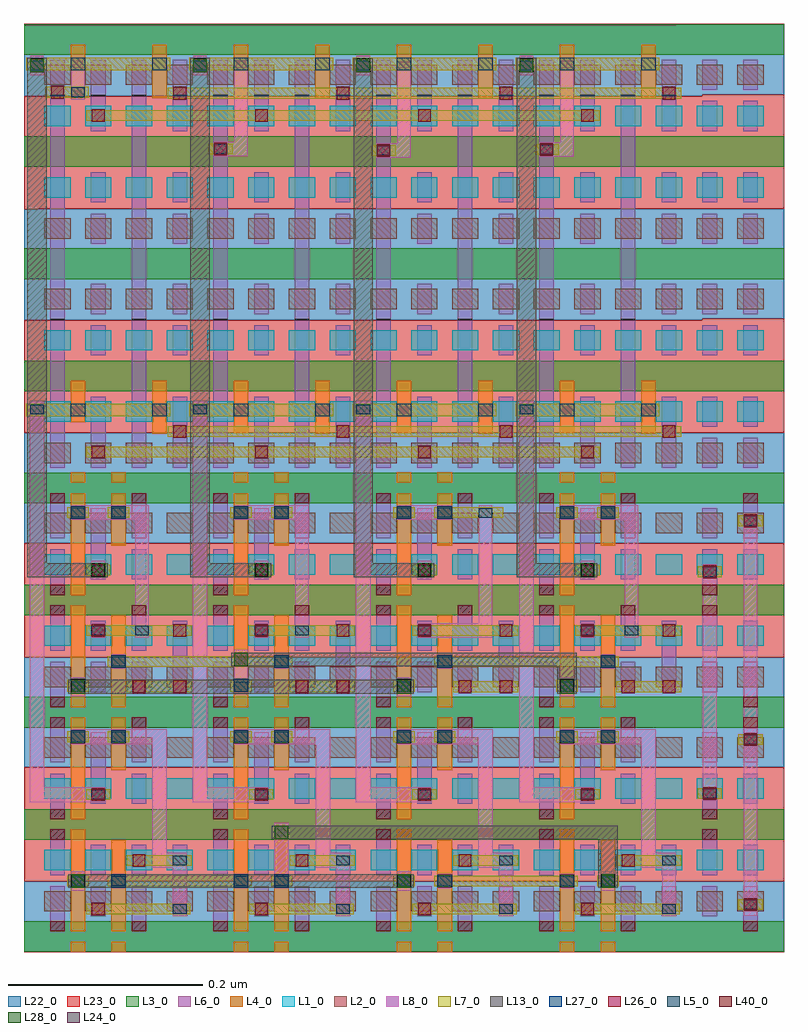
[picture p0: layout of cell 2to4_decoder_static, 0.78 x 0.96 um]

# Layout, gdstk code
from math import pi, radians
import gdstk
lib = gdstk.Library(unit=1e-6, precision=2.5e-10)
def R(c, l, rs):  # rectangles x0, y0, x1, y1
    for r in rs: c.add(gdstk.rectangle(r[:2], r[2:], *l))
def A(c, l, x, y, w, h, nx, ny, dx, dy):  # array of equal rectangles
    R(c, l, [(x+i*dx, y+j*dy, x+i*dx+w, y+j*dy+h) for i in range(nx) for j in range(ny)])
def P(c, l, *ps):  # polygons
    for p in ps: c.add(gdstk.Polygon(p, *l))
L1_0 = (1, 0)
L2_0 = (2, 0)
L3_0 = (3, 0)
L4_0 = (4, 0)
L5_0 = (5, 0)
L6_0 = (6, 0)
L7_0 = (7, 0)
L8_0 = (8, 0)
L13_0 = (13, 0)
L22_0 = (22, 0)
L23_0 = (23, 0)
L24_0 = (24, 0)
L26_0 = (26, 0)
L27_0 = (27, 0)
L28_0 = (28, 0)
L40_0 = (40, 0)

nand = lib.new_cell('nand')
A(nand, L1_0, 0.1255, 0.099, 0.027, 0.021, 4, 1, 0.042, 0)
A(nand, L2_0, 0.1255, 0.1415, 0.027, 0.021, 4, 1, 0.042, 0)
R(nand, L3_0, [(0.1045,0.057,0.2995,0.0885), (0.1045,0.1725,0.2995,0.204)])
R(nand, L4_0, [(0.1525,0.057,0.1675,0.0675), (0.1525,0.078,0.1675,0.183), (0.1945,0.0885,0.2095,0.183), (0.1525,0.1935,0.1675,0.204), (0.1945,0.1935,0.2095,0.204)])
R(nand, L5_0, [(0.1525,0.1245,0.1675,0.1375), (0.1945,0.1245,0.2095,0.1375)])
A(nand, L6_0, 0.1735, 0.094, 0.015, 0.031, 3, 1, 0.042, 0)
R(nand, L6_0, [(0.1315,0.078,0.1465,0.125), (0.1315,0.1365,0.1465,0.183), (0.1735,0.1365,0.1885,0.1675), (0.2155,0.1365,0.2305,0.183), (0.2575,0.1365,0.2725,0.1675)])
R(nand, L7_0, [(0.2105,0.1045,0.2775,0.1155), (0.149,0.1255,0.171,0.1365), (0.191,0.1255,0.213,0.1365), (0.1685,0.1545,0.276,0.1655)])
R(nand, L8_0, [(0.258,0.1025,0.272,0.1675), (0.153,0.1235,0.167,0.1385), (0.195,0.1235,0.209,0.1385)])
R(nand, L22_0, [(0.1045,0.1315,0.2995,0.204)])
R(nand, L23_0, [(0.1045,0.057,0.2995,0.1315), (0.1045,0.204,0.2995,0.2045)])
R(nand, L26_0, [(0.2165,0.1035,0.2295,0.1165), (0.1745,0.1535,0.1875,0.1665)])
R(nand, L27_0, [(0.258,0.105,0.272,0.115), (0.153,0.126,0.167,0.136), (0.195,0.126,0.209,0.136), (0.258,0.155,0.272,0.165)])
R(nand, L40_0, [(0.1315,0.078,0.1465,0.0885), (0.1315,0.1725,0.1465,0.183), (0.2155,0.1725,0.2305,0.183)])

nor = lib.new_cell('nor')
A(nor, L1_0, 0.178, 0.0425, 0.027, 0.021, 4, 1, 0.042, 0)
A(nor, L2_0, 0.178, 0.085, 0.027, 0.021, 4, 1, 0.042, 0)
R(nor, L3_0, [(0.157,0.0005,0.352,0.032), (0.157,0.116,0.352,0.1475)])
R(nor, L4_0, [(0.205,0.0005,0.22,0.011), (0.205,0.0215,0.22,0.1265), (0.247,0.032,0.262,0.1265), (0.205,0.137,0.22,0.1475), (0.247,0.137,0.262,0.1475)])
R(nor, L5_0, [(0.247,0.073,0.262,0.086), (0.205,0.0975,0.22,0.1105)])
R(nor, L6_0, [(0.184,0.0215,0.199,0.0685), (0.268,0.0215,0.283,0.0685), (0.226,0.0375,0.241,0.0685), (0.31,0.0375,0.325,0.111), (0.184,0.08,0.199,0.1265), (0.226,0.08,0.241,0.111), (0.268,0.08,0.283,0.111)])
R(nor, L7_0, [(0.221,0.042,0.33,0.053), (0.2435,0.074,0.2655,0.085), (0.2015,0.0985,0.2235,0.1105), (0.263,0.1,0.33,0.111)])
R(nor, L8_0, [(0.2265,0.04,0.2405,0.055), (0.2475,0.072,0.2615,0.087), (0.2055,0.098,0.2195,0.113)])
R(nor, L22_0, [(0.157,0.075,0.352,0.148)])
R(nor, L23_0, [(0.157,0.0005,0.352,0.075)])
R(nor, L26_0, [(0.227,0.041,0.24,0.054), (0.311,0.041,0.324,0.054), (0.269,0.099,0.282,0.112), (0.311,0.099,0.324,0.112)])
R(nor, L27_0, [(0.2265,0.0425,0.2405,0.0525), (0.2475,0.0745,0.2615,0.0845), (0.2055,0.1005,0.2195,0.1105)])
R(nor, L40_0, [(0.184,0.0215,0.199,0.032), (0.268,0.0215,0.283,0.032), (0.184,0.116,0.199,0.1265)])

c_2to4_decoder_static_fill = lib.new_cell('2to4_decoder_static_filler_17')
R(c_2to4_decoder_static_fill, L1_0, [(0.021,0.042,0.048,0.063), (0.063,0.042,0.09,0.063)])
R(c_2to4_decoder_static_fill, L2_0, [(0.021,0.0845,0.048,0.1055), (0.063,0.0845,0.09,0.1055)])
R(c_2to4_decoder_static_fill, L3_0, [(0,0,0.111,0.0315), (0,0.1155,0.111,0.147)])
R(c_2to4_decoder_static_fill, L6_0, [(0.027,0.037,0.042,0.068), (0.069,0.037,0.084,0.068), (0.027,0.0795,0.042,0.1105), (0.069,0.0795,0.084,0.1105)])
R(c_2to4_decoder_static_fill, L22_0, [(0,0.0745,0.111,0.147)])
P(c_2to4_decoder_static_fill, L23_0, [(0.111,0.0745),(0.111,0),(0,0),(0,0.073),(0.027,0.073),(0.027,0.0745)])

inv = lib.new_cell('inv')
A(inv, L1_0, 0.021, 0.042, 0.027, 0.021, 3, 1, 0.042, 0)
R(inv, L1_0, [(0.147,0.042,0.153,0.063)])
A(inv, L2_0, 0.021, 0.0845, 0.027, 0.021, 3, 1, 0.042, 0)
R(inv, L2_0, [(0.147,0.0845,0.153,0.1055)])
R(inv, L3_0, [(0,0,0.153,0.0315), (0,0.1155,0.153,0.147)])
R(inv, L4_0, [(0.048,0,0.063,0.0105), (0.048,0.021,0.063,0.126), (0.09,0.0715,0.105,0.126), (0.048,0.1365,0.063,0.147), (0.09,0.1365,0.105,0.147)])
R(inv, L5_0, [(0.048,0.0995,0.063,0.1125), (0.09,0.0995,0.105,0.1125)])
R(inv, L6_0, [(0.027,0.021,0.042,0.068), (0.069,0.037,0.084,0.1105), (0.111,0.037,0.126,0.068), (0.027,0.0795,0.042,0.126), (0.111,0.0795,0.126,0.126)])
R(inv, L7_0, [(0.064,0.041,0.089,0.052), (0.0445,0.1005,0.0665,0.1115), (0.0865,0.1005,0.1085,0.1115)])
R(inv, L8_0, [(0.0695,0.039,0.0835,0.054), (0.0485,0.0985,0.1045,0.1135)])
R(inv, L22_0, [(0,0.0745,0.153,0.1475)])
R(inv, L23_0, [(0,0,0.153,0.0745)])
R(inv, L26_0, [(0.07,0.04,0.083,0.053)])
R(inv, L27_0, [(0.0695,0.0415,0.0835,0.0515), (0.0485,0.101,0.0625,0.111), (0.0905,0.101,0.1045,0.111)])
R(inv, L40_0, [(0.027,0.021,0.042,0.0315), (0.027,0.1155,0.042,0.126), (0.111,0.1155,0.126,0.126)])

c_2to4_decoder_static = lib.new_cell('2to4_decoder_static')
A(c_2to4_decoder_static, L1_0, 0.021, 0.084, 0.027, 0.021, 3, 2, 0.042, 0.231)
A(c_2to4_decoder_static, L1_0, 0.189, 0.084, 0.027, 0.021, 3, 2, 0.042, 0.231)
A(c_2to4_decoder_static, L1_0, 0.357, 0.084, 0.027, 0.021, 3, 2, 0.042, 0.231)
A(c_2to4_decoder_static, L1_0, 0.525, 0.084, 0.027, 0.021, 3, 2, 0.042, 0.231)
A(c_2to4_decoder_static, L1_0, 0.153, 0.1575, 0.021, 0.021, 4, 2, 0.168, 0.231)
A(c_2to4_decoder_static, L1_0, 0.021, 0.546, 0.027, 0.021, 16, 2, 0.042, 0.0735)
A(c_2to4_decoder_static, L1_0, 0.021, 0.777, 0.027, 0.021, 16, 2, 0.042, 0.0735)
R(c_2to4_decoder_static, L1_0, [(0.021,0.1575,0.048,0.1785), (0.063,0.1575,0.09,0.1785), (0.189,0.1575,0.216,0.1785), (0.231,0.1575,0.258,0.1785), (0.357,0.1575,0.384,0.1785), (0.399,0.1575,0.426,0.1785), (0.525,0.1575,0.552,0.1785), (0.567,0.1575,0.594,0.1785), (0.021,0.3885,0.048,0.4095), (0.063,0.3885,0.09,0.4095), (0.189,0.3885,0.216,0.4095), (0.231,0.3885,0.258,0.4095), (0.357,0.3885,0.384,0.4095), (0.399,0.3885,0.426,0.4095), (0.525,0.3885,0.552,0.4095), (0.567,0.3885,0.594,0.4095)])
A(c_2to4_decoder_static, L2_0, 0.021, 0.2, 0.027, 0.021, 3, 2, 0.042, 0.0725)
A(c_2to4_decoder_static, L2_0, 0.153, 0.2, 0.021, 0.021, 4, 2, 0.168, 0.231)
A(c_2to4_decoder_static, L2_0, 0.189, 0.2, 0.027, 0.021, 3, 2, 0.042, 0.0725)
A(c_2to4_decoder_static, L2_0, 0.357, 0.2, 0.027, 0.021, 3, 2, 0.042, 0.0725)
A(c_2to4_decoder_static, L2_0, 0.525, 0.2, 0.027, 0.021, 3, 2, 0.042, 0.0725)
A(c_2to4_decoder_static, L2_0, 0.021, 0.431, 0.027, 0.021, 3, 1, 0.042, 0)
A(c_2to4_decoder_static, L2_0, 0.189, 0.431, 0.027, 0.021, 3, 1, 0.042, 0)
A(c_2to4_decoder_static, L2_0, 0.357, 0.431, 0.027, 0.021, 3, 1, 0.042, 0)
A(c_2to4_decoder_static, L2_0, 0.525, 0.431, 0.027, 0.021, 3, 1, 0.042, 0)
A(c_2to4_decoder_static, L2_0, 0.021, 0.5035, 0.027, 0.021, 16, 2, 0.042, 0.1585)
A(c_2to4_decoder_static, L2_0, 0.021, 0.7345, 0.027, 0.021, 16, 2, 0.042, 0.1585)
A(c_2to4_decoder_static, L3_0, 0, 0, 0.783, 0.0315, 1, 6, 0, 0.1155)
A(c_2to4_decoder_static, L3_0, 0, 0.693, 0.699, 0.0315, 1, 3, 0, 0.1155)
A(c_2to4_decoder_static, L4_0, 0.048, 0.021, 0.015, 0.105, 4, 4, 0.168, 0.1155)
A(c_2to4_decoder_static, L4_0, 0.09, 0.021, 0.015, 0.0945, 4, 2, 0.168, 0.231)
A(c_2to4_decoder_static, L4_0, 0.09, 0.187, 0.015, 0.0545, 4, 2, 0.168, 0.231)
A(c_2to4_decoder_static, L4_0, 0.132, 0.5335, 0.015, 0.0545, 4, 1, 0.168, 0)
A(c_2to4_decoder_static, L4_0, 0.216, 0.534, 0.015, 0.054, 3, 1, 0.168, 0)
A(c_2to4_decoder_static, L4_0, 0.048, 0.8795, 0.015, 0.055, 8, 1, 0.084, 0)
R(c_2to4_decoder_static, L4_0, [(0.048,0.483,0.063,0.494), (0.09,0.483,0.105,0.494), (0.216,0.483,0.231,0.494), (0.258,0.483,0.273,0.494), (0.384,0.483,0.399,0.494), (0.426,0.483,0.441,0.494), (0.552,0.483,0.567,0.494), (0.594,0.483,0.609,0.494), (0.048,0.5455,0.063,0.588)])
A(c_2to4_decoder_static, L5_0, 0.048, 0.5515, 0.015, 0.013, 8, 2, 0.084, 0.3565)
A(c_2to4_decoder_static, L6_0, 0.027, 0.4985, 0.015, 0.4205, 8, 1, 0.084, 0)
A(c_2to4_decoder_static, L6_0, 0.069, 0.4985, 0.015, 0.0735, 8, 2, 0.084, 0.347)
A(c_2to4_decoder_static, L6_0, 0.069, 0.6145, 0.015, 0.031, 8, 2, 0.084, 0.0425)
A(c_2to4_decoder_static, L6_0, 0.069, 0.7295, 0.015, 0.031, 8, 2, 0.084, 0.0425)
R(c_2to4_decoder_static, L6_0, [(0.741,0.021,0.756,0.0425), (0.741,0.043,0.756,0.054), (0.699,0.1045,0.714,0.126), (0.699,0.1365,0.714,0.1685), (0.741,0.213,0.756,0.2415), (0.741,0.252,0.756,0.2735), (0.699,0.3355,0.714,0.357), (0.699,0.3675,0.714,0.397), (0.741,0.4385,0.756,0.4495), (0.741,0.451,0.756,0.4725)])
A(c_2to4_decoder_static, L7_0, 0.0025, 0.5515, 0.148, 0.013, 4, 2, 0.168, 0.3565)
R(c_2to4_decoder_static, L7_0, [(0.736,0.043,0.761,0.054), (0.0865,0.0675,0.2345,0.0785), (0.4225,0.0675,0.5705,0.0785), (0.694,0.1575,0.719,0.1685), (0.736,0.213,0.761,0.224), (0.0865,0.2935,0.2765,0.3045), (0.4225,0.2935,0.6125,0.3045), (0.1105,0.326,0.1325,0.336), (0.2755,0.326,0.2975,0.336), (0.615,0.326,0.637,0.336), (0.694,0.386,0.719,0.397), (0.736,0.4385,0.761,0.4495), (0.4225,0.447,0.494,0.458), (0.064,0.5095,0.593,0.5205), (0.148,0.5305,0.677,0.5415), (0.358,0.82,0.383,0.831), (0.526,0.821,0.551,0.832), (0.19,0.8215,0.215,0.8325), (0.064,0.856,0.593,0.867), (0.148,0.879,0.677,0.89), (0.022,0.88,0.0665,0.891)])
A(c_2to4_decoder_static, L8_0, 0.0695, 0.383, 0.014, 0.02, 4, 1, 0.168, 0)
A(c_2to4_decoder_static, L8_0, 0.0065, 0.903, 0.014, 0.02, 4, 1, 0.168, 0)
R(c_2to4_decoder_static, L8_0, [(0.7415,0.037,0.7555,0.4515), (0.0485,0.063,0.0625,0.083), (0.3845,0.063,0.3985,0.083), (0.5945,0.063,0.6085,0.083), (0.258,0.0655,0.273,0.133), (0.6995,0.1555,0.7135,0.399), (0.0485,0.263,0.0625,0.283), (0.3845,0.263,0.3985,0.283), (0.5525,0.263,0.5665,0.283), (0.2165,0.2685,0.2305,0.311), (0.091,0.293,0.104,0.3055), (0.4285,0.295,0.439,0.3015), (0.0485,0.878,0.0625,0.921)])
P(c_2to4_decoder_static, L8_0, [(0.651,0.229),(0.651,0.102),(0.6715,0.102),(0.6715,0.0865),(0.636,0.0865),(0.636,0.214),(0.6015,0.214),(0.6015,0.229)],
  [(0.633,0.46),(0.633,0.3235),(0.619,0.3235),(0.619,0.445),(0.5885,0.445),(0.5885,0.46)],
  [(0.5665,0.918),(0.5665,0.819),(0.5315,0.819),(0.5315,0.834),(0.5525,0.834),(0.5525,0.918)],
  [(0.525,0.5675),(0.525,0.1695),(0.5875,0.1695),(0.5875,0.154),(0.51,0.154),(0.51,0.5675)],
  [(0.483,0.229),(0.483,0.102),(0.5035,0.102),(0.5035,0.0865),(0.468,0.0865),(0.468,0.214),(0.4335,0.214),(0.4335,0.229)],
  [(0.4825,0.46),(0.4825,0.3235),(0.4055,0.3235),(0.4055,0.3385),(0.4685,0.3385),(0.4685,0.46)],
  [(0.3985,0.917),(0.3985,0.818),(0.3635,0.818),(0.3635,0.833),(0.3845,0.833),(0.3845,0.917)],
  [(0.357,0.5675),(0.357,0.1695),(0.4195,0.1695),(0.4195,0.154),(0.342,0.154),(0.342,0.5675)],
  [(0.3155,0.229),(0.3155,0.102),(0.336,0.102),(0.336,0.0865),(0.3005,0.0865),(0.3005,0.214),(0.266,0.214),(0.266,0.229)],
  [(0.2935,0.46),(0.2935,0.3235),(0.2795,0.3235),(0.2795,0.445),(0.249,0.445),(0.249,0.46)],
  [(0.2305,0.9185),(0.2305,0.8195),(0.1955,0.8195),(0.1955,0.8345),(0.2165,0.8345),(0.2165,0.9185)],
  [(0.189,0.5675),(0.189,0.1695),(0.2515,0.1695),(0.2515,0.154),(0.174,0.154),(0.174,0.5675)],
  [(0.147,0.229),(0.147,0.102),(0.1675,0.102),(0.1675,0.0865),(0.132,0.0865),(0.132,0.214),(0.0975,0.214),(0.0975,0.229)],
  [(0.1285,0.46),(0.1285,0.3235),(0.1145,0.3235),(0.1145,0.445),(0.084,0.445),(0.084,0.46)],
  [(0.021,0.5675),(0.021,0.1695),(0.0835,0.1695),(0.0835,0.154),(0.006,0.154),(0.006,0.5675)])
R(c_2to4_decoder_static, L13_0, [(0.0455,0.066,0.4015,0.08), (0.0455,0.266,0.4015,0.28)])
P(c_2to4_decoder_static, L13_0, [(0.5275,0.921),(0.5275,0.4),(0.5905,0.4),(0.5905,0.386),(0.5075,0.386),(0.5075,0.921)],
  [(0.3595,0.9205),(0.3595,0.4),(0.4225,0.4),(0.4225,0.386),(0.3395,0.386),(0.3395,0.9205)],
  [(0.6115,0.13),(0.6115,0.066),(0.5915,0.066),(0.5915,0.116),(0.2555,0.116),(0.2555,0.13)],
  [(0.5695,0.308),(0.5695,0.266),(0.5495,0.266),(0.5495,0.294),(0.2135,0.294),(0.2135,0.308)],
  [(0.1915,0.921),(0.1915,0.4),(0.2545,0.4),(0.2545,0.386),(0.1715,0.386),(0.1715,0.921)],
  [(0.0235,0.921),(0.0235,0.4),(0.0865,0.4),(0.0865,0.386),(0.0035,0.386),(0.0035,0.921)])
R(c_2to4_decoder_static, L22_0, [(0,0.19,0.783,0.3035), (0,0.421,0.783,0.5345), (0,0.8815,0.699,0.9545)])
P(c_2to4_decoder_static, L22_0, [(0.6855,0.7655),(0.6855,0.765),(0.699,0.765),(0.699,0.6505),(0,0.6505),(0,0.765),(0.0135,0.765),(0.0135,0.7655)])
A(c_2to4_decoder_static, L23_0, 0.153, 0.147, 0.015, 0.043, 3, 2, 0.168, 0.231)
R(c_2to4_decoder_static, L23_0, [(0.699,-0.0005,0.783,0)])
P(c_2to4_decoder_static, L23_0, [(0.783,0.421),(0.783,0.3035),(0.699,0.3035),(0.699,0.378),(0.657,0.378),(0.657,0.421)],
  [(0.783,0.19),(0.783,0.0725),(0.699,0.0725),(0.699,0.147),(0.657,0.147),(0.657,0.19)],
  [(0.783,0.956),(0.783,0.9555),(0.672,0.9555),(0.672,0.9545),(0,0.9545),(0,0.956)],
  [(0.783,0.883),(0.783,0.7655),(0.0135,0.7655),(0.0135,0.765),(0,0.765),(0,0.8815),(0.699,0.8815),(0.699,0.883)],
  [(0.783,0.652),(0.783,0.5345),(0,0.5345),(0,0.6505),(0.699,0.6505),(0.699,0.652)])
A(c_2to4_decoder_static, L24_0, 0.027, 0.6505, 0.015, 0.0015, 8, 1, 0.084, 0)
A(c_2to4_decoder_static, L24_0, 0.027, 0.8815, 0.015, 0.0015, 16, 1, 0.042, 0)
A(c_2to4_decoder_static, L26_0, 0.07, 0.5085, 0.013, 0.013, 4, 2, 0.168, 0.3465)
A(c_2to4_decoder_static, L26_0, 0.154, 0.5295, 0.013, 0.013, 4, 2, 0.168, 0.3485)
R(c_2to4_decoder_static, L26_0, [(0.742,0.042,0.755,0.055), (0.7,0.1565,0.713,0.1695), (0.742,0.212,0.755,0.225), (0.7,0.385,0.713,0.398), (0.742,0.4375,0.755,0.4505), (0.364,0.819,0.377,0.832), (0.532,0.82,0.545,0.833), (0.196,0.8205,0.209,0.8335), (0.028,0.879,0.041,0.892)])
A(c_2to4_decoder_static, L27_0, 0.0065, 0.5535, 0.014, 0.01, 4, 2, 0.168, 0.3545)
R(c_2to4_decoder_static, L27_0, [(0.7415,0.0435,0.7555,0.0535), (0.6995,0.158,0.7135,0.168), (0.7415,0.2135,0.7555,0.2235), (0.1145,0.326,0.1285,0.336), (0.2795,0.326,0.2935,0.336), (0.619,0.326,0.633,0.336), (0.6995,0.3865,0.7135,0.3965), (0.7415,0.439,0.7555,0.449), (0.4685,0.447,0.4825,0.457), (0.3635,0.8205,0.3775,0.8305), (0.5315,0.8215,0.5455,0.8315), (0.1955,0.822,0.2095,0.832), (0.0485,0.8805,0.0625,0.8905)])
A(c_2to4_decoder_static, L28_0, 0.0695, 0.386, 0.014, 0.014, 4, 1, 0.168, 0)
A(c_2to4_decoder_static, L28_0, 0.0065, 0.906, 0.014, 0.014, 4, 1, 0.168, 0)
R(c_2to4_decoder_static, L28_0, [(0.0485,0.066,0.0625,0.08), (0.3845,0.066,0.3985,0.08), (0.5945,0.066,0.6085,0.08), (0.2585,0.116,0.2725,0.13), (0.0485,0.266,0.0625,0.28), (0.3845,0.266,0.3985,0.28), (0.5525,0.266,0.5665,0.28), (0.2165,0.294,0.2305,0.308)])
R(c_2to4_decoder_static, L40_0, [(0.741,0.021,0.756,0.0315), (0.699,0.1155,0.714,0.126), (0.699,0.1365,0.714,0.147), (0.741,0.231,0.756,0.2415), (0.741,0.252,0.756,0.2625), (0.699,0.3465,0.714,0.357), (0.699,0.3675,0.714,0.378), (0.741,0.462,0.756,0.4725)])
c_2to4_decoder_static.add(gdstk.Reference(nand, (-0.1045,0.204), x_reflection=True))
c_2to4_decoder_static.add(gdstk.Reference(nand, (0.0635,0.204), x_reflection=True))
c_2to4_decoder_static.add(gdstk.Reference(nand, (0.2315,0.204), x_reflection=True))
c_2to4_decoder_static.add(gdstk.Reference(nand, (0.3995,0.204), x_reflection=True))
c_2to4_decoder_static.add(gdstk.Reference(nor, (0.347,0.3785), x_reflection=True))
c_2to4_decoder_static.add(gdstk.Reference(nor, (0.179,0.3785), x_reflection=True))
c_2to4_decoder_static.add(gdstk.Reference(nor, (0.011,0.3785), x_reflection=True))
c_2to4_decoder_static.add(gdstk.Reference(nor, (-0.157,0.3785), x_reflection=True))
c_2to4_decoder_static.add(gdstk.Reference(c_2to4_decoder_static_fill, (0.783,0.147), rotation=pi))
c_2to4_decoder_static.add(gdstk.Reference(c_2to4_decoder_static_fill, (0.672,0.1155)))
c_2to4_decoder_static.add(gdstk.Reference(c_2to4_decoder_static_fill, (0.783,0.378), rotation=pi))
c_2to4_decoder_static.add(gdstk.Reference(c_2to4_decoder_static_fill, (0.672,0.3465)))
c_2to4_decoder_static.add(gdstk.Reference(c_2to4_decoder_static_fill, (0.783,0.609), rotation=pi))
c_2to4_decoder_static.add(gdstk.Reference(c_2to4_decoder_static_fill, (0.672,0.5775)))
c_2to4_decoder_static.add(gdstk.Reference(c_2to4_decoder_static_fill, (0.783,0.84), rotation=pi))
c_2to4_decoder_static.add(gdstk.Reference(c_2to4_decoder_static_fill, (0.672,0.8085)))
c_2to4_decoder_static.add(gdstk.Reference(inv, (0.336,0.3465)))
c_2to4_decoder_static.add(gdstk.Reference(inv, (0.504,0.3465)))
c_2to4_decoder_static.add(gdstk.Reference(inv, (0.168,0.3465)))
c_2to4_decoder_static.add(gdstk.Reference(inv, (0,0.3465)))
c_2to4_decoder_static.add(gdstk.Reference(inv, (0.504,0.1155)))
c_2to4_decoder_static.add(gdstk.Reference(inv, (0.336,0.1155)))
c_2to4_decoder_static.add(gdstk.Reference(inv, (0.168,0.1155)))
c_2to4_decoder_static.add(gdstk.Reference(inv, (0,0.1155)))

lib.write_gds('2to4_decoder_static.gds')
